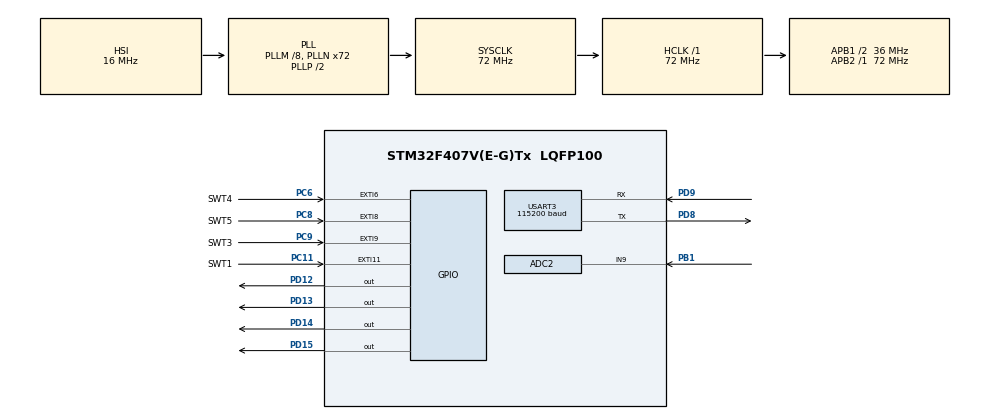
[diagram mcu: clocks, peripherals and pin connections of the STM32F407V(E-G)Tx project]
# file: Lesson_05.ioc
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ADC2.Channel-0\#ChannelRegularConversion=ADC_CHANNEL_9
ADC2.ContinuousConvMode=ENABLE
ADC2.NbrOfConversionFlag=1
ADC2.Rank-0\#ChannelRegularConversion=1
ADC2.SamplingTime-0\#ChannelRegularConversion=ADC_SAMPLETIME_480CYCLES
Mcu.Family=STM32F4
Mcu.Name=STM32F407V(E-G)Tx
Mcu.Package=LQFP100
NVIC.ADC_IRQn=true\:0\:0\:false\:false\:true\:true\:true
NVIC.EXTI15_10_IRQn=true\:0\:0\:false\:false\:true\:true\:true
NVIC.EXTI9_5_IRQn=true\:0\:0\:false\:false\:true\:true\:true
NVIC.PriorityGroup=NVIC_PRIORITYGROUP_4
NVIC.TIM4_IRQn=true\:0\:0\:false\:false\:true\:true\:true
PB1.Signal=ADCx_IN9
PC11.GPIO_Label=SWT1
PC11.GPIO_ModeDefaultEXTI=GPIO_MODE_IT_FALLING
PC11.Signal=GPXTI11
PC6.GPIO_Label=SWT4
PC6.GPIO_ModeDefaultEXTI=GPIO_MODE_IT_FALLING
PC6.Signal=GPXTI6
PC8.GPIO_Label=SWT5
PC8.GPIO_ModeDefaultEXTI=GPIO_MODE_IT_FALLING
PC8.Signal=GPXTI8
PC9.GPIO_Label=SWT3
PC9.GPIO_ModeDefaultEXTI=GPIO_MODE_IT_FALLING
PC9.Signal=GPXTI9
PD12.Signal=GPIO_Output
PD13.Signal=GPIO_Output
PD14.Signal=GPIO_Output
PD15.Signal=GPIO_Output
PD8.Mode=Asynchronous
PD8.Signal=USART3_TX
PD9.Mode=Asynchronous
PD9.Signal=USART3_RX
ProjectManager.HeapSize=0x200
ProjectManager.StackSize=0x400
ProjectManager.TargetToolchain=STM32CubeIDE
RCC.48MHZClocksFreq_Value=36000000
RCC.AHBFreq_Value=72000000
RCC.APB1CLKDivider=RCC_HCLK_DIV2
RCC.APB1Freq_Value=36000000
RCC.APB1TimFreq_Value=72000000
RCC.APB2Freq_Value=72000000
RCC.APB2TimFreq_Value=72000000
RCC.CortexFreq_Value=72000000
RCC.HCLKFreq_Value=72000000
RCC.HSE_VALUE=25000000
RCC.HSI_VALUE=16000000
RCC.LSE_VALUE=32768
RCC.PLLM=8
RCC.PLLN=72
RCC.SYSCLKFreq_VALUE=72000000
RCC.SYSCLKSource=RCC_SYSCLKSOURCE_PLLCLK
RCC.VCOOutputFreq_Value=144000000
SH.ADCx_IN9.0=ADC2_IN9,IN9
TIM4.Period=50000
TIM4.Prescaler=7200
USART3.BaudRate=115200
USART3.VirtualMode=VM_ASYNC
VP_TIM4_VS_ClockSourceINT.Mode=Internal
board=custom

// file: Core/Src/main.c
/* USER CODE BEGIN Header */
/**
  ******************************************************************************
  * @file           : main.c
  * @brief          : Main program body
  ******************************************************************************
  * @attention
  *
  * <h2><center>&copy; Copyright (c) 2021 STMicroelectronics.
  * All rights reserved.</center></h2>
  *
  * This software component is licensed by ST under BSD 3-Clause license,
  * the "License"; You may not use this file except in compliance with the
  * License. You may obtain a copy of the License at:
  *                        opensource.org/licenses/BSD-3-Clause
  *
  ******************************************************************************
  */
/* USER CODE END Header */
#include "main.h"

/* USER CODE BEGIN Includes */
#include <stdint.h>
#include <stdbool.h>
/* USER CODE END Includes */

ADC_HandleTypeDef hadc2;

TIM_HandleTypeDef htim4;

UART_HandleTypeDef huart3;

/* USER CODE BEGIN PV */

//variables for LEDs state values
bool BLUEswitcher = 0;
bool GREENswitcher = 0;
bool REDswitcher = 0;
bool ORANGEswitcher = 0;

//variables for converting ADC to temperature
uint32_t adcValue = 0;
double voltage_Temp = 0;
uint32_t temp = 0;

volatile HAL_StatusTypeDef adcPoolResult;

char a [100];//for print value of temperature

/* USER CODE END PV */

void SystemClock_Config(void);
static void MX_GPIO_Init(void);
static void MX_USART3_UART_Init(void);
static void MX_ADC2_Init(void);
static void MX_TIM4_Init(void);
/* USER CODE BEGIN PFP */
void HAL_GPIO_EXTI_Callback(uint16_t GPIO_Pin);//pressing buttons
void checkLEDcondition (void);//a prototype of a function for checking the status of LEDs for synchronization
void cmdFromUART(void);//prototype of a function for controlling LEDs from a computer keyboard

/* USER CODE END PFP */

/* USER CODE BEGIN 0 */

void Output_temp()//every 5 second
{
		uint8_t str[] = "------------------------------------\r\n\0";
		HAL_ADC_Start(&hadc2);
		adcPoolResult = HAL_ADC_PollForConversion(&hadc2, 1);

		if(adcPoolResult == HAL_OK)
		adcValue = HAL_ADC_GetValue(&hadc2);
		HAL_ADC_Stop(&hadc2);
		voltage_Temp = (double)adcValue * 3 / 4095;
		temp = voltage_Temp*(-50)+101;

		sprintf(a, "Temp is %d\r\n", temp);
		HAL_UART_Transmit(&huart3, a, strlen(a), 500);

		HAL_UART_Transmit(&huart3, str, strlen(str), 30);

}

/* USER CODE END 0 */

int main(void)
{

  /* MCU Configuration--------------------------------------------------------*/

  /* Reset of all peripherals, Initializes the Flash interface and the Systick. */
  HAL_Init();

  /* Configure the system clock */
  SystemClock_Config();

  /* Initialize all configured peripherals */
  MX_GPIO_Init();
  MX_USART3_UART_Init();
  MX_ADC2_Init();
  MX_TIM4_Init();
  /* USER CODE BEGIN 2 */
  HAL_TIM_Base_Start_IT(&htim4);
  /* USER CODE END 2 */

  /* Infinite loop */
  /* USER CODE BEGIN WHILE */

  while (1)
  {
	  void HAL_GPIO_EXTI_Callback(uint16_t GPIO_Pin);
	  checkLEDcondition();
	  cmdFromUART();

    /* USER CODE END WHILE */

  }
}

void SystemClock_Config(void)
{
  RCC_OscInitTypeDef RCC_OscInitStruct = {0};
  RCC_ClkInitTypeDef RCC_ClkInitStruct = {0};

  /** Configure the main internal regulator output voltage
  */
  __HAL_RCC_PWR_CLK_ENABLE();
  __HAL_PWR_VOLTAGESCALING_CONFIG(PWR_REGULATOR_VOLTAGE_SCALE1);
  /** Initializes the RCC Oscillators according to the specified parameters
  * in the RCC_OscInitTypeDef structure.
  */
  RCC_OscInitStruct.OscillatorType = RCC_OSCILLATORTYPE_HSI;
  RCC_OscInitStruct.HSIState = RCC_HSI_ON;
  RCC_OscInitStruct.HSICalibrationValue = RCC_HSICALIBRATION_DEFAULT;
  RCC_OscInitStruct.PLL.PLLState = RCC_PLL_ON;
  RCC_OscInitStruct.PLL.PLLSource = RCC_PLLSOURCE_HSI;
  RCC_OscInitStruct.PLL.PLLM = 8;
  RCC_OscInitStruct.PLL.PLLN = 72;
  RCC_OscInitStruct.PLL.PLLP = RCC_PLLP_DIV2;
  RCC_OscInitStruct.PLL.PLLQ = 4;
  if (HAL_RCC_OscConfig(&RCC_OscInitStruct) != HAL_OK)
  {
    Error_Handler();
  }
  /** Initializes the CPU, AHB and APB buses clocks
  */
  RCC_ClkInitStruct.ClockType = RCC_CLOCKTYPE_HCLK|RCC_CLOCKTYPE_SYSCLK
                              |RCC_CLOCKTYPE_PCLK1|RCC_CLOCKTYPE_PCLK2;
  RCC_ClkInitStruct.SYSCLKSource = RCC_SYSCLKSOURCE_PLLCLK;
  RCC_ClkInitStruct.AHBCLKDivider = RCC_SYSCLK_DIV1;
  RCC_ClkInitStruct.APB1CLKDivider = RCC_HCLK_DIV2;
  RCC_ClkInitStruct.APB2CLKDivider = RCC_HCLK_DIV1;

  if (HAL_RCC_ClockConfig(&RCC_ClkInitStruct, FLASH_LATENCY_2) != HAL_OK)
  {
    Error_Handler();
  }
}

static void MX_ADC2_Init(void)
{

  ADC_ChannelConfTypeDef sConfig = {0};

  /** Configure the global features of the ADC (Clock, Resolution, Data Alignment and number of conversion)
  */
  hadc2.Instance = ADC2;
  hadc2.Init.ClockPrescaler = ADC_CLOCK_SYNC_PCLK_DIV2;
  hadc2.Init.Resolution = ADC_RESOLUTION_12B;
  hadc2.Init.ScanConvMode = DISABLE;
  hadc2.Init.ContinuousConvMode = ENABLE;
  hadc2.Init.DiscontinuousConvMode = DISABLE;
  hadc2.Init.ExternalTrigConvEdge = ADC_EXTERNALTRIGCONVEDGE_NONE;
  hadc2.Init.ExternalTrigConv = ADC_SOFTWARE_START;
  hadc2.Init.DataAlign = ADC_DATAALIGN_RIGHT;
  hadc2.Init.NbrOfConversion = 1;
  hadc2.Init.DMAContinuousRequests = DISABLE;
  hadc2.Init.EOCSelection = ADC_EOC_SINGLE_CONV;
  if (HAL_ADC_Init(&hadc2) != HAL_OK)
  {
    Error_Handler();
  }
  /** Configure for the selected ADC regular channel its corresponding rank in the sequencer and its sample time.
  */
  sConfig.Channel = ADC_CHANNEL_9;
  sConfig.Rank = 1;
  sConfig.SamplingTime = ADC_SAMPLETIME_480CYCLES;
  if (HAL_ADC_ConfigChannel(&hadc2, &sConfig) != HAL_OK)
  {
    Error_Handler();
  }

}

static void MX_TIM4_Init(void)
{

  TIM_ClockConfigTypeDef sClockSourceConfig = {0};
  TIM_MasterConfigTypeDef sMasterConfig = {0};

  htim4.Instance = TIM4;
  htim4.Init.Prescaler = 7200;
  htim4.Init.CounterMode = TIM_COUNTERMODE_UP;
  htim4.Init.Period = 50000;
  htim4.Init.ClockDivision = TIM_CLOCKDIVISION_DIV1;
  htim4.Init.AutoReloadPreload = TIM_AUTORELOAD_PRELOAD_DISABLE;
  if (HAL_TIM_Base_Init(&htim4) != HAL_OK)
  {
    Error_Handler();
  }
  sClockSourceConfig.ClockSource = TIM_CLOCKSOURCE_INTERNAL;
  if (HAL_TIM_ConfigClockSource(&htim4, &sClockSourceConfig) != HAL_OK)
  {
    Error_Handler();
  }
  sMasterConfig.MasterOutputTrigger = TIM_TRGO_RESET;
  sMasterConfig.MasterSlaveMode = TIM_MASTERSLAVEMODE_DISABLE;
  if (HAL_TIMEx_MasterConfigSynchronization(&htim4, &sMasterConfig) != HAL_OK)
  {
    Error_Handler();
  }

}

static void MX_USART3_UART_Init(void)
{

  huart3.Instance = USART3;
  huart3.Init.BaudRate = 115200;
  huart3.Init.WordLength = UART_WORDLENGTH_8B;
  huart3.Init.StopBits = UART_STOPBITS_1;
  huart3.Init.Parity = UART_PARITY_NONE;
  huart3.Init.Mode = UART_MODE_TX_RX;
  huart3.Init.HwFlowCtl = UART_HWCONTROL_NONE;
  huart3.Init.OverSampling = UART_OVERSAMPLING_16;
  if (HAL_UART_Init(&huart3) != HAL_OK)
  {
    Error_Handler();
  }

}

static void MX_GPIO_Init(void)
{
  GPIO_InitTypeDef GPIO_InitStruct = {0};

  /* GPIO Ports Clock Enable */
  __HAL_RCC_GPIOB_CLK_ENABLE();
  __HAL_RCC_GPIOD_CLK_ENABLE();
  __HAL_RCC_GPIOC_CLK_ENABLE();

  /*Configure GPIO pin Output Level */
  HAL_GPIO_WritePin(GPIOD, GPIO_PIN_12|GPIO_PIN_13|GPIO_PIN_14|GPIO_PIN_15, GPIO_PIN_RESET);

  /*Configure GPIO pins : PD12 PD13 PD14 PD15 */
  GPIO_InitStruct.Pin = GPIO_PIN_12|GPIO_PIN_13|GPIO_PIN_14|GPIO_PIN_15;
  GPIO_InitStruct.Mode = GPIO_MODE_OUTPUT_PP;
  GPIO_InitStruct.Pull = GPIO_NOPULL;
  GPIO_InitStruct.Speed = GPIO_SPEED_FREQ_LOW;
  HAL_GPIO_Init(GPIOD, &GPIO_InitStruct);

  /*Configure GPIO pins : SWT4_Pin SWT5_Pin SWT3_Pin SWT1_Pin */
  GPIO_InitStruct.Pin = SWT4_Pin|SWT5_Pin|SWT3_Pin|SWT1_Pin;
  GPIO_InitStruct.Mode = GPIO_MODE_IT_FALLING;
  GPIO_InitStruct.Pull = GPIO_NOPULL;
  HAL_GPIO_Init(GPIOC, &GPIO_InitStruct);

  /* EXTI interrupt init*/
  HAL_NVIC_SetPriority(EXTI9_5_IRQn, 0, 0);
  HAL_NVIC_EnableIRQ(EXTI9_5_IRQn);

  HAL_NVIC_SetPriority(EXTI15_10_IRQn, 0, 0);
  HAL_NVIC_EnableIRQ(EXTI15_10_IRQn);

}

/* USER CODE BEGIN 4 */
void HAL_GPIO_EXTI_Callback(uint16_t GPIO_Pin)
{
	switch (GPIO_Pin)
	{

		break;
	case SWT1_Pin:
	{
		HAL_GPIO_TogglePin(GPIOD, GPIO_PIN_15);
		BLUEswitcher = !BLUEswitcher;
	}
		break;
	case SWT3_Pin:
	{
		HAL_GPIO_TogglePin(GPIOD, GPIO_PIN_13);
		ORANGEswitcher = !ORANGEswitcher;
	}
		break;
	case SWT4_Pin:
	{
		HAL_GPIO_TogglePin(GPIOD, GPIO_PIN_14);
		REDswitcher = !REDswitcher;

	}
		break;
	case SWT5_Pin:
	{
		HAL_GPIO_TogglePin(GPIOD, GPIO_PIN_12);
		GREENswitcher = !GREENswitcher;

	}
		break;
	}
}

void checkLEDcondition (void)
{

	uint8_t str[] = "------------------------------------\r\n\0";

	if (BLUEswitcher == 1)
		{
		HAL_UART_Transmit(&huart3, (uint8_t *)"Blue ON\r\n", 7+2, 10);
		}
	else
		{
		HAL_UART_Transmit(&huart3, (uint8_t *)"Blue OFF\r\n", 8+2, 10);
		}

	if (REDswitcher == 1)
		{
		HAL_UART_Transmit(&huart3, (uint8_t *)"Red ON\r\n", 6+2, 10);
		}
	else
		{
		HAL_UART_Transmit(&huart3, (uint8_t *)"Red OFF\r\n", 7+2, 10);
		}
	if (GREENswitcher == 1)
		{
		HAL_UART_Transmit(&huart3, (uint8_t *)"Green ON\r\n", 8+2, 10);
		}
	else
		{
		HAL_UART_Transmit(&huart3, (uint8_t *)"Green OFF\r\n", 9+2, 10);
		}
	if (ORANGEswitcher == 1)
		{
		HAL_UART_Transmit(&huart3, (uint8_t *)"Orange ON\r\n", 9+2, 10);
		}
	else
		{
		HAL_UART_Transmit(&huart3, (uint8_t *)"Orange OFF\r\n", 10+2, 10);
		}

	HAL_UART_Transmit(&huart3, str, strlen(str), 30);
	HAL_Delay(500);
}

void cmdFromUART(void)

{
	uint8_t rcvBuf[1];
	HAL_StatusTypeDef result;

	result = HAL_UART_Receive(&huart3, rcvBuf, 1, 10);
	if (result == HAL_OK)
		{
		switch (rcvBuf[0])
		{
			case '4':
				HAL_GPIO_TogglePin(GPIOD, GPIO_PIN_13);
				ORANGEswitcher = !ORANGEswitcher;
			break;

			case '8':
				HAL_GPIO_TogglePin(GPIOD, GPIO_PIN_14);
				REDswitcher = !REDswitcher;
			break;

			case '6':
				HAL_GPIO_TogglePin(GPIOD, GPIO_PIN_15);
				BLUEswitcher = !BLUEswitcher;
			break;
			case '2':
				HAL_GPIO_TogglePin(GPIOD, GPIO_PIN_12);
				GREENswitcher = !GREENswitcher;
			break;
			default:
			HAL_UART_Transmit(&huart3, (uint8_t *)"UnexpCmd\r\n", 8+2, 10);
			break;
		}
	}
}

/* USER CODE END 4 */

void Error_Handler(void)
{
  __disable_irq();
  while (1)
  {
  }
}

/************************ (C) COPYRIGHT STMicroelectronics *****END OF FILE****/
